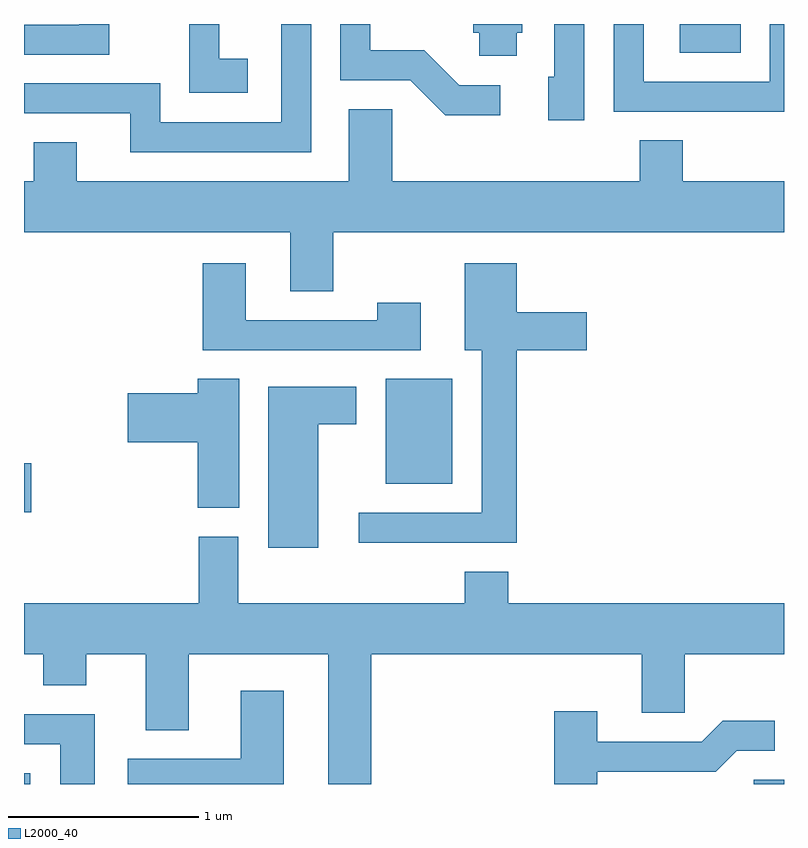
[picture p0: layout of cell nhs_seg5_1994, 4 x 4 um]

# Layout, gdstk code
import gdstk
lib = gdstk.Library(unit=1e-6, precision=1e-09)
def R(c, l, rs):  # rectangles x0, y0, x1, y1
    for r in rs: c.add(gdstk.rectangle(r[:2], r[2:], *l))
def P(c, l, *ps):  # polygons
    for p in ps: c.add(gdstk.Polygon(p, *l))
L2000_40 = (2000, 40)

nhs_seg5_1994 = lib.new_cell('nhs_seg5_1994')
R(nhs_seg5_1994, L2000_40, [(243.611,1496.072,243.644,1496.129), (247.451,1496.072,247.611,1496.094), (243.611,1497.501,243.649,1497.759), (245.516,1497.651,245.864,1498.204), (247.061,1499.921,247.384,1500.072)])
P(nhs_seg5_1994, L2000_40, [(244.059,1500.072),(243.901,1500.072),(243.901,1500.069),(243.611,1500.069),(243.611,1499.911),(244.059,1499.911)],
  [(247.611,1500.072),(247.536,1500.072),(247.536,1499.769),(246.874,1499.769),(246.874,1500.072),(246.716,1500.072),(246.716,1499.611),(247.611,1499.611)],
  [(246.118,1499.749),(245.902,1499.749),(245.717,1499.934),(245.434,1499.934),(245.434,1500.072),(245.276,1500.072),(245.276,1499.776),(245.644,1499.776),(245.829,1499.591),(246.118,1499.591)],
  [(246.204,1500.026),(246.234,1500.026),(246.234,1500.072),(245.976,1500.072),(245.976,1500.026),(246.006,1500.026),(246.006,1499.906),(246.204,1499.906)],
  [(244.789,1499.889),(244.639,1499.889),(244.639,1500.072),(244.481,1500.072),(244.481,1499.711),(244.789,1499.711)],
  [(246.559,1500.072),(246.401,1500.072),(246.401,1499.794),(246.371,1499.794),(246.371,1499.566),(246.559,1499.566)],
  [(245.124,1500.072),(244.966,1500.072),(244.966,1499.554),(244.329,1499.554),(244.329,1499.759),(243.611,1499.759),(243.611,1499.601),(244.171,1499.601),(244.171,1499.396),(245.124,1499.396)],
  [(245.239,1498.976),(247.611,1498.976),(247.611,1499.244),(247.079,1499.244),(247.079,1499.459),(246.851,1499.459),(246.851,1499.244),(245.549,1499.244),(245.549,1499.624),(245.321,1499.624),(245.321,1499.244),(243.889,1499.244),(243.889,1499.449),(243.661,1499.449),(243.661,1499.244),(243.611,1499.244),(243.611,1498.976),(245.011,1498.976),(245.011,1498.666),(245.239,1498.666)],
  [(245.699,1498.604),(245.471,1498.604),(245.471,1498.514),(244.779,1498.514),(244.779,1498.814),(244.551,1498.814),(244.551,1498.356),(245.699,1498.356)],
  [(246.204,1498.356),(246.574,1498.356),(246.574,1498.554),(246.204,1498.554),(246.204,1498.814),(245.931,1498.814),(245.931,1498.356),(246.021,1498.356),(246.021,1497.499),(245.373,1497.499),(245.373,1497.341),(246.204,1497.341)],
  [(244.744,1498.204),(244.526,1498.204),(244.526,1498.129),(244.156,1498.129),(244.156,1497.871),(244.526,1497.871),(244.526,1497.526),(244.744,1497.526)],
  [(245.159,1497.966),(245.359,1497.966),(245.359,1498.164),(244.896,1498.164),(244.896,1497.316),(245.159,1497.316)],
  [(245.439,1496.756),(246.861,1496.756),(246.861,1496.446),(247.089,1496.446),(247.089,1496.756),(247.611,1496.756),(247.611,1497.024),(246.159,1497.024),(246.159,1497.189),(245.931,1497.189),(245.931,1497.024),(244.739,1497.024),(244.739,1497.374),(244.531,1497.374),(244.531,1497.024),(243.611,1497.024),(243.611,1496.756),(243.711,1496.756),(243.711,1496.591),(243.939,1496.591),(243.939,1496.756),(244.251,1496.756),(244.251,1496.356),(244.479,1496.356),(244.479,1496.756),(245.211,1496.756),(245.211,1496.072),(245.439,1496.072)],
  [(244.979,1496.564),(244.751,1496.564),(244.751,1496.204),(244.156,1496.204),(244.156,1496.072),(244.979,1496.072)],
  [(246.629,1496.136),(247.252,1496.136),(247.362,1496.246),(247.563,1496.246),(247.563,1496.404),(247.289,1496.404),(247.179,1496.294),(246.629,1496.294),(246.629,1496.454),(246.401,1496.454),(246.401,1496.072),(246.629,1496.072)],
  [(243.984,1496.439),(243.611,1496.439),(243.611,1496.281),(243.801,1496.281),(243.801,1496.072),(243.984,1496.072)])

lib.write_gds('nhs_seg5_1994.gds')
